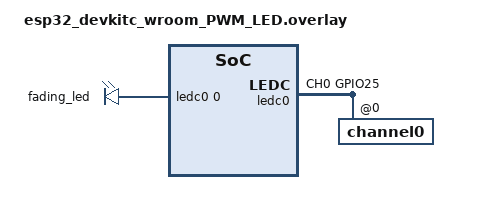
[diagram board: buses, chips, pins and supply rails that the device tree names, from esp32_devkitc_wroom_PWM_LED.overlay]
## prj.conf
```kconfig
CONFIG_GPIO=y
CONFIG_PWM=y

CONFIG_SERIAL=y
CONFIG_UART_ASYNC_API=y

CONFIG_TIMESLICING=y
CONFIG_TIMESLICE_SIZE=10
CONFIG_TIMESLICE_PRIORITY=0

CONFIG_MULTITHREADING=y
```

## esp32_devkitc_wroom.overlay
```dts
/{
  leds {
       compatible = "gpio-leds";
       blinking_led: blinking_led{
        gpios=<&gpio0 5 GPIO_ACTIVE_HIGH>;
       };
    };
};

&uart1{
	compatible="espressif,esp32-uart";
	reg = <0x3ff50000 0x400>;
	pinctrl-0 = <&uart1_default>;
	pinctrl-names = "default";
	status = "okay";
	current-speed = <115200>;
	parity = "none";
	stop-bits = "1";
	data-bits = <8>;
};
&pinctrl{
        uart1_default: uart1_default{ //
                group1 {//Pin configuration based on group
                        pinmux =<UART1_TX_GPIO22>;//Using pin GPIO 22 for TX
                        output-high;
                };
		group2{
			pinmux = <UART1_RX_GPIO23>;//Using GPIO 23 for RX
			bias-pull-up;
		};
        };
};
```

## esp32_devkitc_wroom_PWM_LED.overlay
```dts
/{
	pwmleds{
		compatible = "pwm-leds";
		fading_led: fading_led{
				pwms = <&ledc0 0 10000 PWM_POLARITY_NORMAL>;
		};
	};
};	

&pinctrl{//New child node
	ledc0_default: ledc0_default{ //Defining default state for ledc0 controller
		group1 {//Pin configuration based on group
			pinmux =<LEDC_CH0_GPIO25>;//Using pin GPIO 25
			output-enable; //property configured for output enable
		};
	};
};

&ledc0{	
	pinctrl-0=<&ledc0_default>; //binding default state to property pinctrl-0. More states can be bound to pinctrl-1,2 etc
	pinctrl-names = "default"; //state name
	status="okay";
	#address-cells = <1>;
	#size-cells = <0>;
	channel0@0{
		reg = <0x0>;//Defines the ID of the channel. It must match channel used in pinmux
		timer = <0>;//low or high speed timer used by PWM channel
	};
};
```

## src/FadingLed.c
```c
#include<zephyr/device.h>
#include<zephyr/kernel.h>
#include<zephyr/drivers/pwm.h>

#define NUM_STEPS 100
#define SLEEP_DELTA_MSEC 20U //period after which timer handler will be called
static const struct pwm_dt_spec fading_led = PWM_DT_SPEC_GET(DT_NODELABEL(fading_led));// Fading_led is the label for child node defined in the overlay file. DT_NODELABEL() will return node Id. PWM_DT_SPEC_GET() return the sturct for PWM controller device
int ret;
static uint32_t pulse_width_nsec = 0U;
static uint32_t pulse_width_delta_nsec = 0U;
static bool increasing_intensity = true; //Start with increaing the intensity
static uint32_t steps_taken=0U;
void led_delta_timer_handler(struct k_timer *timer_info){
    if(increasing_intensity){
        if(steps_taken<NUM_STEPS){
            ret = pwm_set_pulse_dt(&fading_led, pulse_width_nsec);
            steps_taken++;
            pulse_width_nsec += pulse_width_delta_nsec;
        } else {
            increasing_intensity = false;
            steps_taken--;
            pulse_width_nsec -= pulse_width_delta_nsec;
        }
    } else {
        if(steps_taken>0){
            ret = pwm_set_pulse_dt(&fading_led, pulse_width_nsec);
            steps_taken--;
            pulse_width_nsec -= pulse_width_delta_nsec;
        } else {
            increasing_intensity = true;
            steps_taken++;
            pulse_width_nsec += pulse_width_delta_nsec;
        }
    }
}
K_TIMER_DEFINE(led_delta_timer, led_delta_timer_handler, NULL);//Initlaizing the timer using macro. The input is the name of the timer and a function to call when timer goes off. The function takes reference to the ktimer struct as an argument
void main(){
 if(!device_is_ready(fading_led.dev)){
    printk("Error: PWM device %s is not ready\n",fading_led.dev->name);
    return;
 }

/*while(1){
// Naive way to make fading led:
    for (int i=0; i<40; i++){
        if(i<21){
            ret = pwm_set_pulse_dt(&fading_led,i*10000/20); //Setting the output to 0 percent duty cycle
            k_sleep(K_SECONDS(0.2));
        } else {
            ret = pwm_set_pulse_dt(&fading_led,(40-i)*10000/20); //Setting the output to 0 percent duty cycle
            k_sleep(K_SECONDS(0.2));
        }
    }
}*/
    pulse_width_delta_nsec = fading_led.period/NUM_STEPS;
    k_timer_start(&led_delta_timer, K_MSEC(SLEEP_DELTA_MSEC),K_MSEC(SLEEP_DELTA_MSEC));//Starting the timer with name and periods
}
```

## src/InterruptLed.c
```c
#include <zephyr/zephyr.h> //Header file that descrivbes the device tree headers
#include <zephyr/drivers/gpio.h> //Header file that describes GPIO
#include <zephyr/kernel.h>  
#include <stdint.h>
static struct gpio_callback button_cb_data; //Interrupt callback struct
static const struct gpio_dt_spec led = GPIO_DT_SPEC_GET(DT_NODELABEL(blinking_led), gpios);//Defined in overlay file for pin 25
static const struct gpio_dt_spec button = GPIO_DT_SPEC_GET(DT_NODELABEL(button), gpios);//Defined in overlay file for pin 13

void button_pressed(const struct device *dev, struct gpio_callback *cb, uint32_t pins){
    int ret;
    ret = gpio_pin_toggle_dt(&led);
    if (ret!=0){
        printk("could not toggle LED\n");
    }
}

void main(void)
{

  if (!device_is_ready(led.port)){//Checking if the GPIO controller is ready
	return;
  }
  if (!device_is_ready(button.port)){//Checking if the GPIO controller is ready
	return;
  }
  int ret;
  ret=gpio_pin_configure_dt(&led,GPIO_OUTPUT_ACTIVE);
  if (ret != 0)
	return;
  ret=gpio_pin_configure_dt(&button, GPIO_INPUT);
  if (ret != 0)
	return;
  ret= gpio_pin_interrupt_configure_dt(&button,GPIO_INT_EDGE_TO_ACTIVE);//Activating both the rising and falling edge for the interrupt at node &button
  if (ret != 0)
	return;
  gpio_init_callback(&button_cb_data,button_pressed, BIT(button.pin)); //First argument is the call back struct the next two arguments are the values for the fields, 2nd argument is callback and third is Pin mask
  gpio_add_callback(button.port,&button_cb_data);//Function enabling the interrupt
  //gpio_remove_callback(button.port,&button_cb_data);//Function disabling the interrupt
  ret= gpio_pin_interrupt_configure_dt(&button,GPIO_INT_EDGE_TO_ACTIVE);//Activating both the rising and falling edge for the interrupt at node &button
  if (ret != 0)
	return;
}
```

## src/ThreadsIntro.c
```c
#include<zephyr/kernel.h>
#include <zephyr/drivers/gpio.h>

#define STACKSIZE 1024
#define THREAD0_PRIORITY 7
#define THREAD1_PRIORITY 7


void thread0(void)
{
    while (1) {
        printk("Hello, I am thread0\n");
        //k_msleep(5);
        k_yield();
    }
}

void thread1(void)
{
    while (1) {
        printk("Hello, I am thread1\n");
        k_msleep(5);
    }
}
K_THREAD_DEFINE(thread0_id, STACKSIZE, thread0, NULL, NULL, NULL, THREAD0_PRIORITY, 0, 0);
K_THREAD_DEFINE(thread1_id, STACKSIZE, thread1, NULL, NULL, NULL, THREAD1_PRIORITY, 0, 0);
```

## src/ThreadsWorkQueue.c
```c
#include <zephyr/kernel.h>
#include <zephyr/drivers/gpio.h>
#include <zephyr/zephyr.h>
#include <string.h>
#define CAS(P, O, N) xthal_compare_and_set((P), (O), (N))
#define STACKSIZE 1024
#define THREAD0_PRIORITY 2
#define THREAD1_PRIORITY 3
#define WORKQ_PRIORITY   4
#define MY_STACK_SIZE 512
#define MY_PROIRITY 5

K_THREAD_STACK_DEFINE(my_stack_area, MY_STACK_SIZE);// Define stack area used by workqueue thread
static const struct gpio_dt_spec led = GPIO_DT_SPEC_GET(DT_NODELABEL(blinking_led), gpios);
static struct k_work_q offload_work_q = {0};; // Define workqueue structure

void CPU_Hogging(){
    if (!device_is_ready(led.port)){//Checking if the GPIO controller is ready
	    return;
    }
    int ret=gpio_pin_configure_dt(&led,GPIO_OUTPUT_ACTIVE);
    if (ret != 0)
	    return;
    //gpio_pin_toggle_dt(&led);
    ret = gpio_pin_set_dt(&led,1);
    for( volatile int i=0; i<350000; i++);
    ret = gpio_pin_set_dt(&led,0);
}

struct work_info{//Struct to define the work items
    struct k_work work;
    char name[25];
 } my_work;

void offload_function(struct k_work* work_item){//Work Item handler function input is the address to the work item itself
    
    CPU_Hogging();
}

void thread0(void)
{
    k_work_queue_start(&offload_work_q, my_stack_area, K_THREAD_STACK_SIZEOF(my_stack_area), WORKQ_PRIORITY, NULL); //Initializing the work queue and the work thread
    strcpy(my_work.name, "Thread 0 Hogging");//Naming the work item
    k_work_init(&my_work.work,offload_function);//Associating the work item with the handler and setting inital work as not pending
    uint64_t time_stamp;
    uint64_t delta_time;
    while(1){
        time_stamp = k_uptime_get();
        k_work_submit_to_queue(&offload_work_q, &my_work.work);//Adding work item to the workqueue  
        delta_time = k_uptime_delta(&time_stamp);
        printk("thread0 yielding the CPU in %lld ms \n", delta_time);
        k_msleep(20);
    }
}

void thread1(void)
{
    uint64_t time_stamp;
    uint64_t delta_time;
    while(1){
        time_stamp = k_uptime_get();
        CPU_Hogging();
        delta_time = k_uptime_delta(&time_stamp);
        printk("thread1 yielding the CPU in %lld ms \n", delta_time);
        k_msleep(20);
    }
}

K_THREAD_DEFINE(thread0_id, STACKSIZE, thread0, NULL, NULL, NULL, THREAD0_PRIORITY, 0, 0);
K_THREAD_DEFINE(thread1_id, STACKSIZE, thread1, NULL, NULL, NULL, THREAD1_PRIORITY, 0, 0);
```

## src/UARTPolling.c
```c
#include <zephyr/drivers/uart.h>
#include <zephyr/drivers/gpio.h>
#include <zephyr/kernel.h>

static const struct device *uart = DEVICE_DT_GET(DT_NODELABEL(uart1));//UART does not hava a API-specific structure so using the DEVICE_DE_GET 
static const struct gpio_dt_spec led = GPIO_DT_SPEC_GET(DT_NODELABEL(blinking_led), gpios);
static uint8_t rx_buf[10] = {0};
static uint8_t tx_buf[] =  {"Let's Occupy Mars \n\r"};
/*const struct uart_config uart_cfg = {
		.baudrate = 115200,
		.parity = UART_CFG_PARITY_NONE,
		.stop_bits = UART_CFG_STOP_BITS_1,
		.data_bits = UART_CFG_DATA_BITS_8,
		.flow_ctrl = UART_CFG_FLOW_CTRL_NONE
	};*/
/*struct uart_event_rx{
    uint8_t *buf;
    size_t offset;
    size_t len;
};
struct uart_event{
    enum uart_event_type type;
    union  uart_event_data{
        struct uart_event_tx tx;
        struct uart_event_rx rx;
        struct uart_event_rx_buf rx_buf;
        struct uart_event_rx_stop rx_stop;
    }data;
};*/
/*static void uart_cb(const struct  device *dev, struct uart_event *evt, void *user_data){
    switch (evt->type){
    
    case UART_TX_DONE:
        break;
    
    case UART_TX_ABORTED:
    // do something
    break;
		
	case UART_RX_RDY:
		if((evt->data.rx.len) == 1){
            if(evt->data.rx.buf[evt->data.rx.offset] == '1')
                gpio_pin_toggle_dt(&led);
        }
		break;

	case UART_RX_BUF_REQUEST:
		// do something
		break;

	case UART_RX_BUF_RELEASED:
		// do something
		break;
		
	case UART_RX_DISABLED:
        uart_rx_enable(dev, rx_buf, sizeof(rx_buf), 100);
		// do something
		break;

	case UART_RX_STOPPED:
		// do something
		break;
		
	default:
		break;
    }
}*/

int main(){
    int ret;
    unsigned char *p_char;
    if (!device_is_ready(led.port)){//Checking if the GPIO controller is ready
	    return;
    }
    ret=gpio_pin_configure_dt(&led,GPIO_OUTPUT_ACTIVE);

    if (ret != 0)
	    return;

    if(!device_is_ready(uart)){
        printk("UART device is not ready");
        return;
    }
    /*ret = uart_configure(uart, uart_cfg);
    if(ret == -ENOSYS){
        return -ENOSYS;
    }*/
    /*ret = uart_callback_set(uart, uart_cb, NULL);
    if (ret) {
        return ret;
    }
    ret = uart_rx_enable(uart, rx_buf, sizeof(rx_buf), 100);
    if (ret) {
		return 1;
	}
    ret = uart_tx(uart, tx_buf, sizeof(tx_buf), SYS_FOREVER_US);
	if (ret) {
		return ret;
	}*/
    while(1){
        for(int i=0; i<sizeof(tx_buf); i++){
            uart_poll_out(uart, tx_buf[i]);
        }
        k_msleep(5000);
        uart_poll_in(uart, rx_buf);
        if(rx_buf[0] == 'H'){
            //gpio_pin_toggle_dt(&led);
            ret = gpio_pin_set_dt(&led,1);
        } else if (rx_buf[0] == 'L') {
            ret = gpio_pin_set_dt(&led,0);
        }
    }
}
```
